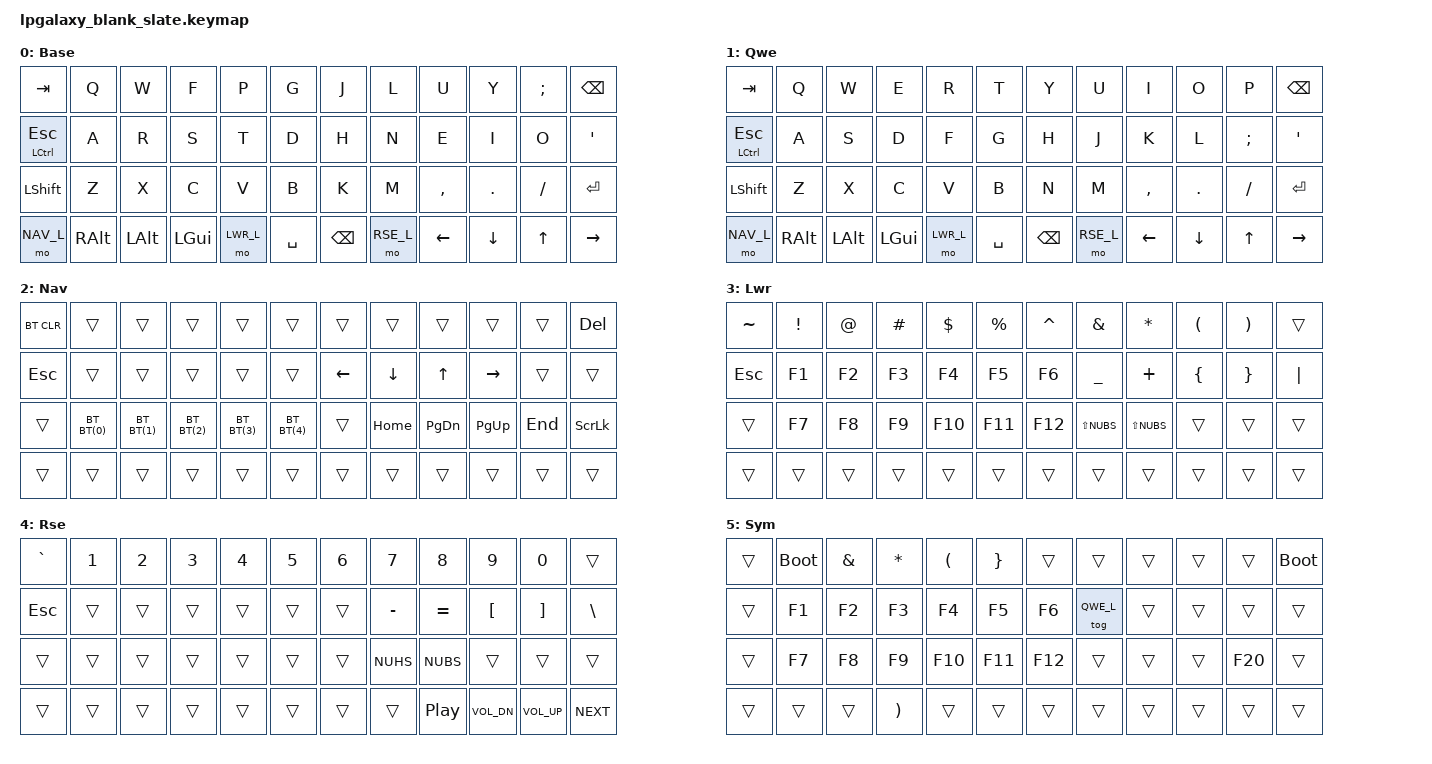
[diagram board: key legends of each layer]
#include <behaviors.dtsi>
#include <dt-bindings/zmk/keys.h>
#include <dt-bindings/zmk/bt.h>
#include <dt-bindings/zmk/outputs.h>

#define TBLE_ORTHO   1

#define QWE_L 1
#define NAV_L 2
#define LWR_L 3
#define RSE_L 4
#define SYM_L 5

// Using layer taps on thumbs, having quick tap as well helps w/ repeating space/backspace
&lt { quick_tap_ms = <200>; };

#define BT(n) BT_SEL n
#define _CTL_ESC &mt LCTL ESC

/ {
    chosen {
       zmk,physical-layout =
#ifdef TBLE_DUAL_2U
                       &layout_ortho_4x12_2x2u;
#elif defined(TBLE_MIT)
                       &layout_ortho_4x12_1x2u;
#else
                       &layout_ortho_4x12_all1u;
#endif
    };

    macros {
      ZMK_MACRO(thumbs_up,
                wait-ms = <1>;
                tap-ms = <5>;
                bindings = <&kp PLUS &kp COLON &kp PLUS &kp N1 &kp COLON &kp RET>;
                )
    };

    tap_dances {
        shifty: shift_caps_word {
                compatible = "zmk,behavior-tap-dance";
                label = "TD_SHIFTY";
                #binding-cells = <0>;
                tapping-term-ms = <150>;
                bindings = <&kp LSHFT>, <&caps_word>;
        };
    };

    cond_layers {
        compatible = "zmk,conditional-layers";
        tri_layer {
            if-layers = <LWR_L RSE_L>;
            then-layer = <SYM_L>;
        };
    };
// Conditional layer only when we have less thumb keys
#ifdef TBLE_DUAL_2U
    cond_layers {
        compatible = "zmk,conditional-layers";
        tri {
            if-layers = <NUM_L NAV_L>;
            then-layer = <SYM_L>;
        };
    };
#endif

    keymap {
        compatible = "zmk,keymap";

        base_layer {
            label = "Base";
            bindings = <
//    ┌──────────┬──────┬──────┬──────┬──────────┬─────┬──────┬────────────┬──────┬──────┬────┬──────┐
//    │   tab    │  Q   │  W   │  F   │    P     │  G  │  J   │     L      │  U   │  Y   │ ;  │ BKSP │
//    ├──────────┼──────┼──────┼──────┼──────────┼─────┼──────┼────────────┼──────┼──────┼────┼──────┤
//    │ _CTL_esc │  A   │  R   │  S   │    T     │  D  │  H   │     N      │  E   │  I   │ O  │ QUOT │
//    ├──────────┼──────┼──────┼──────┼──────────┼─────┼──────┼────────────┼──────┼──────┼────┼──────┤
//    │   lsft   │  Z   │  X   │  C   │    V     │  B  │  K   │     M      │  ,   │  .   │ /  │ ent  │
//    ├──────────┼──────┼──────┼──────┼──────────┼─────┼──────┼────────────┼──────┼──────┼────┼──────┤
//    │ mo NAV_L │ ralt │ lalt │ lgui │ mo LWR_L │ spc │ BKSP │ mo rsftE_L │ left │ down │ up │ rght │
//    └──────────┴──────┴──────┴──────┴──────────┴─────┴──────┴────────────┴──────┴──────┴────┴──────┘
  &kp TAB     &kp Q      &kp W      &kp F      &kp P       &kp G       &kp J      &kp L       &kp U       &kp Y      &kp SEMI   &kp BKSP
  _CTL_ESC    &kp A      &kp R      &kp S      &kp T       &kp D       &kp H      &kp N       &kp E       &kp I      &kp O      &kp QUOT
  &kp LSHFT   &kp Z      &kp X      &kp C      &kp V       &kp B       &kp K      &kp M       &kp COMMA   &kp DOT    &kp FSLH   &kp RET
  &mo NAV_L   &kp RALT   &kp LALT   &kp LGUI   &mo LWR_L   &kp SPACE   &kp BKSP   &mo RSE_L   &kp LEFT    &kp DOWN   &kp UP     &kp RIGHT
            >;
        };

        qwerty_layer {
            label = "Qwe";
            bindings = <
//    ┌──────────┬──────┬──────┬──────┬──────────┬─────┬──────┬────────────┬──────┬──────┬────┬──────┐
//    │   tab    │  Q   │  W   │  E   │    R     │  T  │  Y   │     U      │  I   │  O   │ P  │ BKSP │
//    ├──────────┼──────┼──────┼──────┼──────────┼─────┼──────┼────────────┼──────┼──────┼────┼──────┤
//    │ _CTL_esc │  A   │  S   │  D   │    F     │  G  │  H   │     J      │  K   │  L   │ ;  │ QUOT │
//    ├──────────┼──────┼──────┼──────┼──────────┼─────┼──────┼────────────┼──────┼──────┼────┼──────┤
//    │   lsft   │  Z   │  X   │  C   │    V     │  B  │  N   │     M      │  ,   │  .   │ /  │ ent  │
//    ├──────────┼──────┼──────┼──────┼──────────┼─────┼──────┼────────────┼──────┼──────┼────┼──────┤
//    │ mo NAV_L │ ralt │ lalt │ lgui │ mo LWR_L │ spc │ BKSP │ mo rsftE_L │ left │ down │ up │ rght │
//    └──────────┴──────┴──────┴──────┴──────────┴─────┴──────┴────────────┴──────┴──────┴────┴──────┘
  &kp TAB     &kp Q      &kp W      &kp E      &kp R       &kp T       &kp Y      &kp U       &kp I       &kp O      &kp P      &kp BKSP
  _CTL_ESC    &kp A      &kp S      &kp D      &kp F       &kp G       &kp H      &kp J       &kp K       &kp L      &kp SEMI   &kp QUOT
  &kp LSHFT   &kp Z      &kp X      &kp C      &kp V       &kp B       &kp N      &kp M       &kp COMMA   &kp DOT    &kp FSLH   &kp RET
  &mo NAV_L   &kp RALT   &kp LALT   &kp LGUI   &mo LWR_L   &kp SPACE   &kp BKSP   &mo RSE_L   &kp LEFT    &kp DOWN   &kp UP     &kp RIGHT
            >;
        };

        nav_layer {
            label = "Nav";
            bindings = <
//    ┌────────┬──────────┬──────────┬──────────┬──────────┬──────────┬──────┬──────┬──────┬──────┬─────┬─────┐
//    │ bt_clr │          │          │          │          │          │      │      │      │      │     │ del │
//    ├────────┼──────────┼──────────┼──────────┼──────────┼──────────┼──────┼──────┼──────┼──────┼─────┼─────┤
//    │  esc   │          │          │          │          │          │ left │ down │  up  │ rght │     │     │
//    ├────────┼──────────┼──────────┼──────────┼──────────┼──────────┼──────┼──────┼──────┼──────┼─────┼─────┤
//    │        │ bt_BT(0) │ bt_BT(1) │ bt_BT(2) │ bt_BT(3) │ bt_BT(4) │      │ home │ pgdn │ pgup │ end │     │
//    ├────────┼──────────┼──────────┼──────────┼──────────┼──────────┼──────┼──────┼──────┼──────┼─────┼─────┤
//    │        │          │          │          │          │          │      │      │      │      │     │     │
//    └────────┴──────────┴──────────┴──────────┴──────────┴──────────┴──────┴──────┴──────┴──────┴─────┴─────┘
  &bt BT_CLR   &trans      &trans      &trans      &trans      &trans      &trans     &trans     &trans      &trans      &trans    &kp DEL
  &kp ESC      &trans      &trans      &trans      &trans      &trans      &kp LEFT   &kp DOWN   &kp UP      &kp RIGHT   &trans    &trans
  &trans       &bt BT(0)   &bt BT(1)   &bt BT(2)   &bt BT(3)   &bt BT(4)   &trans     &kp HOME   &kp PG_DN   &kp PG_UP   &kp END   &kp SLCK
  &trans       &trans      &trans      &trans      &trans      &trans      &trans     &trans     &trans      &trans      &trans    &trans
            >;
        };

        lwr_layer {
            label = "Lwr";
            bindings = <
//    ┌─────┬─────┬─────┬─────┬─────┬─────┬─────┬────────────┬────────────┬─────┬─────┬─────┐
//    │  ~  │  !  │  @  │  #  │  $  │  %  │  ^  │     &      │     *      │  (  │  )  │     │
//    ├─────┼─────┼─────┼─────┼─────┼─────┼─────┼────────────┼────────────┼─────┼─────┼─────┤
//    │ esc │ f1  │ f2  │ f3  │ f4  │ f5  │ f6  │     _      │     +      │  {  │  }  │  |  │
//    ├─────┼─────┼─────┼─────┼─────┼─────┼─────┼────────────┼────────────┼─────┼─────┼─────┤
//    │     │ f7  │ f8  │ f9  │ f10 │ f11 │ f12 │ lsft(iso\) │ lsft(iso\) │     │     │     │
//    ├─────┼─────┼─────┼─────┼─────┼─────┼─────┼────────────┼────────────┼─────┼─────┼─────┤
//    │     │     │     │     │     │     │     │            │            │     │     │     │
//    └─────┴─────┴─────┴─────┴─────┴─────┴─────┴────────────┴────────────┴─────┴─────┴─────┘
  &kp TILDE   &kp EXCL   &kp AT   &kp HASH   &kp DLLR   &kp PRCNT   &kp CARET   &kp AMPS       &kp ASTRK      &kp LPAR   &kp RPAR   &trans
  &kp ESC     &kp F1     &kp F2   &kp F3     &kp F4     &kp F5      &kp F6      &kp UNDER      &kp PLUS       &kp LBRC   &kp RBRC   &kp PIPE
  &trans      &kp F7     &kp F8   &kp F9     &kp F10    &kp F11     &kp F12     &kp LS(NUBS)   &kp LS(NUBS)   &trans     &trans     &trans
  &trans      &trans     &trans   &trans     &trans     &trans      &trans      &trans         &trans         &trans     &trans     &trans
            >;
        };

        rse_layer {
            label = "Rse";
            bindings = <
//    ┌─────┬─────┬─────┬─────┬─────┬─────┬─────┬──────┬──────┬──────┬──────┬──────┐
//    │  `  │  1  │  2  │  3  │  4  │  5  │  6  │  7   │  8   │  9   │  0   │      │
//    ├─────┼─────┼─────┼─────┼─────┼─────┼─────┼──────┼──────┼──────┼──────┼──────┤
//    │ esc │     │     │     │     │     │     │  -   │  =   │  [   │  ]   │  \   │
//    ├─────┼─────┼─────┼─────┼─────┼─────┼─────┼──────┼──────┼──────┼──────┼──────┤
//    │     │     │     │     │     │     │     │ iso# │ iso\ │      │      │      │
//    ├─────┼─────┼─────┼─────┼─────┼─────┼─────┼──────┼──────┼──────┼──────┼──────┤
//    │     │     │     │     │     │     │     │      │ play │ vold │ volu │ next │
//    └─────┴─────┴─────┴─────┴─────┴─────┴─────┴──────┴──────┴──────┴──────┴──────┘
  &kp GRAVE   &kp N1   &kp N2   &kp N3   &kp N4   &kp N5   &kp N6   &kp N7      &kp N8      &kp N9         &kp N0         &trans
  &kp ESC     &trans   &trans   &trans   &trans   &trans   &trans   &kp MINUS   &kp EQUAL   &kp LBKT       &kp RBKT       &kp BSLH
  &trans      &trans   &trans   &trans   &trans   &trans   &trans   &kp NUHS    &kp NUBS    &trans         &trans         &trans
  &trans      &trans   &trans   &trans   &trans   &trans   &trans   &trans      &kp C_PP    &kp C_VOL_DN   &kp C_VOL_UP   &kp C_NEXT
            >;
        };

        sym_layer {
            label = "Sym";
            bindings = <
//    ┌─────┬──────┬─────┬────┬─────┬─────┬─────┬───────────┬─────┬─────┬─────┬──────┐
//    │     │ boot │  &  │ *  │  (  │  }  │     │           │     │     │     │ boot │
//    ├─────┼──────┼─────┼────┼─────┼─────┼─────┼───────────┼─────┼─────┼─────┼──────┤
//    │     │  f1  │ f2  │ f3 │ f4  │ f5  │ f6  │ tog QWE_L │     │     │     │      │
//    ├─────┼──────┼─────┼────┼─────┼─────┼─────┼───────────┼─────┼─────┼─────┼──────┤
//    │     │  f7  │ f8  │ f9 │ f10 │ f11 │ f12 │           │     │     │ f20 │      │
//    ├─────┼──────┼─────┼────┼─────┼─────┼─────┼───────────┼─────┼─────┼─────┼──────┤
//    │     │      │     │ )  │     │     │     │           │     │     │     │      │
//    └─────┴──────┴─────┴────┴─────┴─────┴─────┴───────────┴─────┴─────┴─────┴──────┘
  &trans   &bootloader   &kp AMPS   &kp STAR   &kp LPAR   &kp RBRC   &trans    &trans       &trans   &trans   &trans    &bootloader
  &trans   &kp F1        &kp F2     &kp F3     &kp F4     &kp F5     &kp F6    &tog QWE_L   &trans   &trans   &trans    &trans
  &trans   &kp F7        &kp F8     &kp F9     &kp F10    &kp F11    &kp F12   &trans       &trans   &trans   &kp F20   &trans
  &trans   &trans        &trans     &kp RPAR   &trans     &trans     &trans    &trans       &trans   &trans   &trans    &trans
            >;
        };
    };
};


